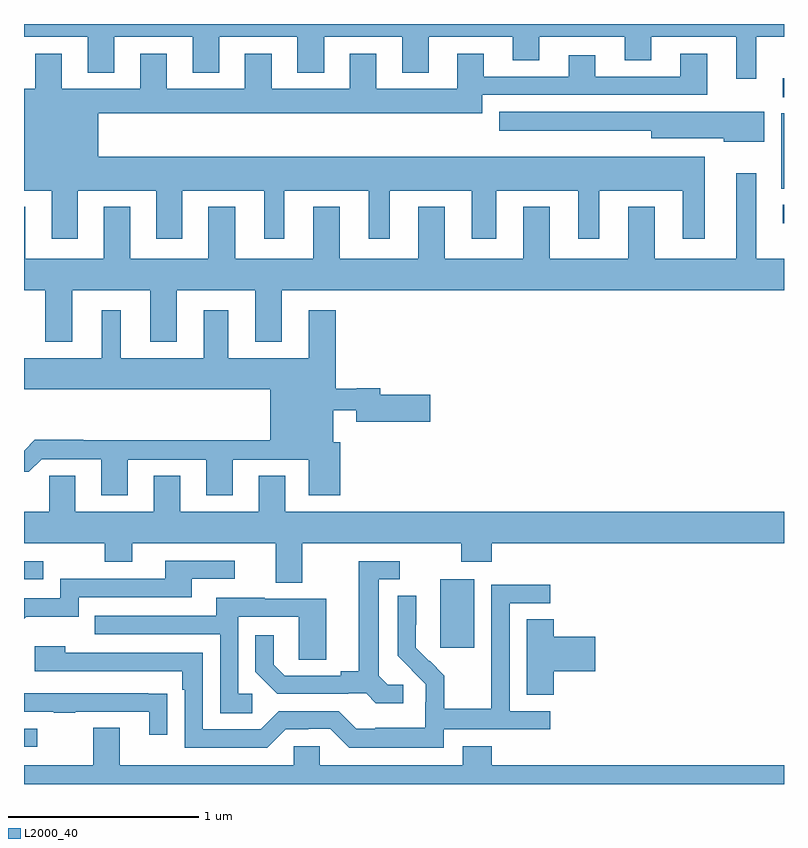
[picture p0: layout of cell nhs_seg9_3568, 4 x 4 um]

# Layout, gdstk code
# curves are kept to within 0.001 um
import gdstk
lib = gdstk.Library(unit=1e-6, precision=1e-09)
def R(c, l, rs):  # rectangles x0, y0, x1, y1
    for r in rs: c.add(gdstk.rectangle(r[:2], r[2:], *l))
def P(c, l, *ps):  # polygons
    for p in ps: c.add(gdstk.Polygon(p, *l))
L2000_40 = (2000, 40)

nhs_seg9_3568 = lib.new_cell('nhs_seg9_3568')
R(nhs_seg9_3568, L2000_40, [(315,1180.695,315.07,1180.791), (317.192,1181.217,317.371,1181.578), (315,1181.577,315.1,1181.673), (318.993,1183.452,319,1183.548), (318.986,1183.633,319,1184.03), (318.993,1184.115,319,1184.214)])
P(nhs_seg9_3568, L2000_40, [(318.853,1184.432),(319,1184.432),(319,1184.5),(315,1184.5),(315,1184.432),(315.335,1184.432),(315.335,1184.243),(315.475,1184.243),(315.475,1184.432),(315.887,1184.432),(315.887,1184.243),(316.027,1184.243),(316.027,1184.432),(316.439,1184.432),(316.439,1184.243),(316.579,1184.243),(316.579,1184.432),(316.991,1184.432),(316.991,1184.243),(317.131,1184.243),(317.131,1184.432),(317.573,1184.432),(317.573,1184.308),(317.713,1184.308),(317.713,1184.432),(318.161,1184.432),(318.161,1184.308),(318.301,1184.308),(318.301,1184.432),(318.749,1184.432),(318.749,1184.211),(318.853,1184.211)],
  [(315.283,1183.622),(315.695,1183.622),(315.695,1183.371),(315.832,1183.371),(315.832,1183.622),(316.265,1183.622),(316.265,1183.371),(316.369,1183.371),(316.369,1183.622),(316.814,1183.622),(316.814,1183.371),(316.924,1183.371),(316.924,1183.622),(317.357,1183.622),(317.357,1183.371),(317.485,1183.371),(317.485,1183.622),(317.918,1183.622),(317.918,1183.371),(318.028,1183.371),(318.028,1183.622),(318.467,1183.622),(318.467,1183.371),(318.583,1183.371),(318.583,1183.801),(315.391,1183.801),(315.391,1184.03),(317.413,1184.03),(317.413,1184.127),(318.595,1184.127),(318.595,1184.344),(318.455,1184.344),(318.455,1184.223),(318.007,1184.223),(318.007,1184.335),(317.867,1184.335),(317.867,1184.223),(317.419,1184.223),(317.419,1184.344),(317.279,1184.344),(317.279,1184.158),(316.855,1184.158),(316.855,1184.344),(316.715,1184.344),(316.715,1184.158),(316.303,1184.158),(316.303,1184.344),(316.163,1184.344),(316.163,1184.158),(315.751,1184.158),(315.751,1184.344),(315.611,1184.344),(315.611,1184.158),(315.199,1184.158),(315.199,1184.344),(315.059,1184.344),(315.059,1184.158),(315,1184.158),(315,1183.622),(315.146,1183.622),(315.146,1183.371),(315.283,1183.371)],
  [(318.895,1184.038),(317.502,1184.038),(317.502,1183.937),(318.302,1183.937),(318.302,1183.898),(318.684,1183.898),(318.684,1183.88),(318.895,1183.88)],
  [(316.111,1183.537),(315.971,1183.537),(315.971,1183.264),(315.559,1183.264),(315.559,1183.537),(315.419,1183.537),(315.419,1183.264),(315.007,1183.264),(315.007,1183.537),(315,1183.537),(315,1183.1),(315.113,1183.1),(315.113,1182.827),(315.253,1182.827),(315.253,1183.1),(315.665,1183.1),(315.665,1182.827),(315.805,1182.827),(315.805,1183.1),(316.217,1183.1),(316.217,1182.827),(316.357,1182.827),(316.357,1183.1),(319,1183.1),(319,1183.264),(318.853,1183.264),(318.853,1183.714),(318.749,1183.714),(318.749,1183.264),(318.319,1183.264),(318.319,1183.537),(318.179,1183.537),(318.179,1183.264),(317.767,1183.264),(317.767,1183.537),(317.627,1183.537),(317.627,1183.264),(317.215,1183.264),(317.215,1183.537),(317.075,1183.537),(317.075,1183.264),(316.663,1183.264),(316.663,1183.537),(316.523,1183.537),(316.523,1183.264),(316.111,1183.264)],
  [(315.547,1182.207),(315.959,1182.207),(315.959,1182.021),(316.099,1182.021),(316.099,1182.207),(316.499,1182.207),(316.499,1182.021),(316.664,1182.021),(316.664,1182.3),(316.627,1182.3),(316.627,1182.467),(316.748,1182.467),(316.748,1182.406),(317.137,1182.406),(317.137,1182.548),(316.876,1182.548),(316.876,1182.584),(316.752,1182.584),(316.752,1182.58),(316.64,1182.58),(316.64,1182.994),(316.499,1182.994),(316.499,1182.742),(316.075,1182.742),(316.075,1182.994),(315.947,1182.994),(315.947,1182.742),(315.508,1182.742),(315.508,1182.994),(315.41,1182.994),(315.41,1182.742),(315,1182.742),(315,1182.578),(316.295,1182.578),(316.295,1182.308),(315.311,1182.308),(315.311,1182.311),(315.056,1182.311),(315,1182.255),(315,1182.143),(315.026,1182.143),(315.093,1182.21),(315.407,1182.21),(315.407,1182.021),(315.547,1182.021)],
  [(316.465,1181.768),(317.302,1181.768),(317.302,1181.669),(317.462,1181.669),(317.462,1181.768),(319,1181.768),(319,1181.932),(316.375,1181.932),(316.375,1182.122),(316.235,1182.122),(316.235,1181.932),(315.823,1181.932),(315.823,1182.122),(315.683,1182.122),(315.683,1181.932),(315.271,1181.932),(315.271,1182.122),(315.132,1182.122),(315.132,1181.932),(315,1181.932),(315,1181.768),(315.424,1181.768),(315.424,1181.669),(315.571,1181.669),(315.571,1181.768),(316.325,1181.768),(316.325,1181.56),(316.465,1181.56)],
  [(315.011,1181.381),(315.288,1181.381),(315.288,1181.484),(315.883,1181.484),(315.883,1181.58),(316.108,1181.58),(316.108,1181.676),(315.743,1181.676),(315.743,1181.58),(315.192,1181.58),(315.192,1181.478),(315,1181.478),(315,1181.37)],
  [(316.996,1181.022),(316.914,1181.022),(316.867,1181.069),(316.867,1181.577),(316.978,1181.577),(316.978,1181.673),(316.763,1181.673),(316.763,1181.093),(316.667,1181.093),(316.667,1181.07),(316.372,1181.07),(316.315,1181.127),(316.315,1181.284),(316.218,1181.284),(316.218,1181.09),(316.334,1180.974),(316.706,1180.974),(316.706,1180.977),(316.8,1180.977),(316.852,1180.925),(316.996,1180.925)],
  [(317.208,1180.788),(317.77,1180.788),(317.77,1180.884),(317.556,1180.884),(317.556,1181.451),(317.77,1181.451),(317.77,1181.55),(317.46,1181.55),(317.46,1181.12),(317.458,1181.12),(317.458,1180.897),(317.213,1180.897),(317.213,1181.071),(317.136,1181.148),(317.133,1181.145),(317.063,1181.216),(317.064,1181.492),(316.968,1181.492),(316.968,1181.174),(317.114,1181.026),(317.114,1180.929),(317.112,1180.929),(317.112,1180.795),(316.849,1180.795),(316.849,1180.791),(316.749,1180.791),(316.656,1180.884),(316.341,1180.884),(316.245,1180.788),(315.942,1180.788),(315.942,1181.19),(315.218,1181.19),(315.218,1181.224),(315.057,1181.224),(315.057,1181.094),(315.833,1181.094),(315.833,1180.997),(315.846,1180.997),(315.846,1180.692),(316.281,1180.692),(316.377,1180.788),(316.496,1180.788),(316.496,1180.791),(316.611,1180.791),(316.711,1180.691),(317.208,1180.691)],
  [(316.201,1180.974),(316.128,1180.974),(316.128,1181.379),(316.446,1181.379),(316.446,1181.155),(316.591,1181.155),(316.591,1181.475),(316.267,1181.475),(316.267,1181.479),(316.013,1181.479),(316.013,1181.385),(315.373,1181.385),(315.373,1181.289),(316.032,1181.289),(316.032,1180.873),(316.201,1180.873)],
  [(317.789,1181.093),(318.007,1181.093),(318.007,1181.276),(317.789,1181.276),(317.789,1181.366),(317.645,1181.366),(317.645,1180.969),(317.789,1180.969)],
  [(315.755,1180.976),(315.653,1180.976),(315.653,1180.977),(315,1180.977),(315,1180.881),(315.157,1180.881),(315.157,1180.876),(315.269,1180.876),(315.269,1180.881),(315.659,1180.881),(315.659,1180.758),(315.755,1180.758)],
  [(319,1180.6),(317.462,1180.6),(317.462,1180.699),(317.309,1180.699),(317.309,1180.6),(316.557,1180.6),(316.557,1180.698),(316.419,1180.698),(316.419,1180.6),(315.505,1180.6),(315.505,1180.795),(315.365,1180.795),(315.365,1180.6),(315,1180.6),(315,1180.5),(319,1180.5)])

lib.write_gds('nhs_seg9_3568.gds')
